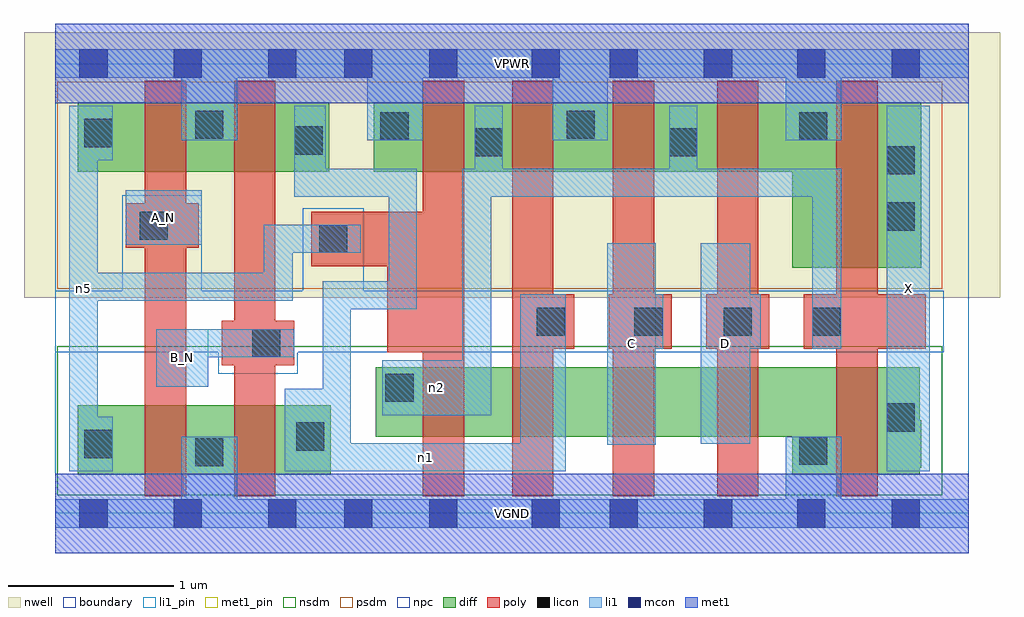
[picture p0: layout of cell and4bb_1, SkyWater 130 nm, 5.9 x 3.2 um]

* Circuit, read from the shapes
.subckt and4bb_1 A_N B_N C D VGND VPWR X n1 n2 n5
XM1 VGND A_N n5 VSUBS sky130_fd_pr__nfet_01v8 w=0.42 l=0.25
XM2 n1 B_N VGND VSUBS sky130_fd_pr__nfet_01v8 w=0.42 l=0.25
XM3 n3 n5 n2 VSUBS sky130_fd_pr__nfet_01v8 w=0.42 l=0.25
XM4 n4 n1 n3 VSUBS sky130_fd_pr__nfet_01v8 w=0.42 l=0.25
XM5 n6 C n4 VSUBS sky130_fd_pr__nfet_01v8 w=0.42 l=0.25
XM6 VGND D n6 VSUBS sky130_fd_pr__nfet_01v8 w=0.42 l=0.25
XM7 X n2 VGND VSUBS sky130_fd_pr__nfet_01v8 w=0.65 l=0.25
XM8 VPWR A_N n5 n7 sky130_fd_pr__pfet_01v8 w=0.42 l=0.25
XM9 n1 B_N VPWR n7 sky130_fd_pr__pfet_01v8 w=0.42 l=0.25
XM10 n2 n5 VPWR n7 sky130_fd_pr__pfet_01v8 w=0.42 l=0.25
XM11 VPWR n1 n2 n7 sky130_fd_pr__pfet_01v8 w=0.42 l=0.25
XM12 n2 C VPWR n7 sky130_fd_pr__pfet_01v8 w=0.42 l=0.25
XM13 VPWR D n2 n7 sky130_fd_pr__pfet_01v8 w=0.42 l=0.25
XM14 X n2 VPWR n7 sky130_fd_pr__pfet_01v8 w=1 l=0.25
.ends

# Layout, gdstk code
import gdstk
lib = gdstk.Library(unit=1e-6, precision=1e-09)
def R(c, l, rs):  # rectangles x0, y0, x1, y1
    for r in rs: c.add(gdstk.rectangle(r[:2], r[2:], *l))
def A(c, l, x, y, w, h, nx, ny, dx, dy):  # array of equal rectangles
    R(c, l, [(x+i*dx, y+j*dy, x+i*dx+w, y+j*dy+h) for i in range(nx) for j in range(ny)])
nwell = (64, 20)
diff = (65, 20)
poly = (66, 20)
licon = (66, 44)
li1_pin = (67, 16)
li1 = (67, 20)
mcon = (67, 44)
met1_pin = (68, 16)
met1 = (68, 20)
nsdm = (93, 44)
psdm = (94, 20)
npc = (95, 20)
boundary = (235, 4)

and4bb_1 = lib.new_cell('and4bb_1')
R(and4bb_1, nwell, [(-0.19,1.305,5.71,2.91), (0,1.305,5.52,2.91)])
R(and4bb_1, diff, [(0.135,0.235,1.665,0.655), (4.455,0.235,5.225,0.885), (4.455,0.275,5.235,0.565), (1.935,0.465,5.225,0.885), (4.455,1.485,5.235,2.485), (0.135,2.065,1.655,2.485), (1.925,2.065,5.235,2.485)])
R(and4bb_1, poly, [(0.54,0.105,0.79,2.615), (1.08,0.105,1.33,2.615), (2.22,0.105,2.47,2.615), (2.76,0.105,3.01,2.615), (3.37,0.105,3.62,2.615), (4,0.105,4.25,2.615), (4.72,0.105,4.97,2.615), (1.005,0.895,1.445,1.165), (2.005,0.975,2.47,1.825), (2.76,0.995,3.135,1.325), (3.345,0.995,3.725,1.325), (3.935,0.995,4.315,1.325), (4.525,0.995,5.26,1.325), (1.545,1.495,2.47,1.825), (0.425,1.605,0.865,1.875)])
R(and4bb_1, licon, [(0.845,0.285,1.015,0.455), (4.495,0.295,4.665,0.465), (0.175,0.335,0.345,0.505), (1.455,0.38,1.625,0.55), (5.025,0.495,5.195,0.665), (1.995,0.675,2.165,0.845), (1.19,0.945,1.36,1.115), (2.91,1.075,3.08,1.245), (3.5,1.075,3.67,1.245), (4.04,1.075,4.21,1.245), (4.575,1.075,4.745,1.245), (1.595,1.575,1.765,1.745), (0.51,1.655,0.68,1.825), (5.025,1.71,5.195,1.88), (5.025,2.05,5.195,2.22), (2.535,2.16,2.705,2.33), (3.71,2.16,3.88,2.33), (1.445,2.17,1.615,2.34), (0.175,2.215,0.345,2.385), (1.965,2.255,2.135,2.425), (4.495,2.255,4.665,2.425), (0.845,2.265,1.015,2.435), (3.09,2.265,3.26,2.435)])
R(and4bb_1, li1_pin, [(5.025,0.255,5.285,2.465), (3.335,0.415,3.63,1.635), (3.9,0.42,4.2,1.635), (0.61,0.765,0.925,1.115), (0.425,1.625,0.885,1.955)])
R(and4bb_1, li1, [(0,-0.085,5.52,0.085), (0.76,-0.085,1.1,0.465), (4.415,-0.085,4.75,0.465), (0.085,0.255,0.255,2.465), (0.085,0.255,0.345,0.585), (1.385,0.255,3.085,0.425), (1.385,0.255,1.785,0.755), (1.615,0.255,1.785,1.405), (2.81,0.255,3.085,1.325), (5.025,0.255,5.285,2.465), (3.335,0.415,3.63,1.635), (3.9,0.42,4.2,1.635), (1.975,0.595,2.635,0.925), (2.46,0.595,2.635,2.085), (0.61,0.765,0.925,1.115), (0.61,0.945,1.445,1.115), (3.335,0.995,3.675,1.325), (3.9,0.995,4.265,1.325), (4.575,0.995,4.75,2.085), (1.615,1.235,2.185,1.405), (2.015,1.235,2.185,2.085), (0.085,1.285,1.435,1.455), (1.26,1.285,1.435,1.745), (1.26,1.575,1.845,1.745), (0.425,1.625,0.885,1.955), (1.445,1.915,1.635,2.465), (1.445,1.915,2.185,2.085), (2.46,1.915,4.75,2.085), (2.535,1.915,2.705,2.465), (3.71,1.915,3.88,2.465), (0.085,2.135,0.345,2.465), (0.76,2.255,1.1,2.805), (1.885,2.255,2.22,2.805), (3.005,2.255,3.34,2.805), (4.415,2.255,4.75,2.805), (0,2.635,5.52,2.805)])
A(and4bb_1, mcon, 0.145, -0.085, 0.17, 0.17, 3, 2, 0.57, 2.72)
R(and4bb_1, mcon, [(1.745,-0.085,1.915,0.085), (2.26,-0.085,2.43,0.085), (2.88,-0.085,3.05,0.085), (3.35,-0.085,3.52,0.085), (3.92,-0.085,4.09,0.085), (4.485,-0.085,4.655,0.085), (5.055,-0.085,5.225,0.085), (1.745,2.635,1.915,2.805), (2.26,2.635,2.43,2.805), (2.88,2.635,3.05,2.805), (3.35,2.635,3.52,2.805), (3.92,2.635,4.09,2.805), (4.485,2.635,4.655,2.805), (5.055,2.635,5.225,2.805)])
R(and4bb_1, met1_pin, [(0,-0.24,5.52,0.24), (0,2.48,5.52,2.96)])
R(and4bb_1, met1, [(0,-0.24,5.52,0.24), (0,2.48,5.52,2.96)])
R(and4bb_1, nsdm, [(0.01,0.11,5.36,1.01)])
R(and4bb_1, psdm, [(0.01,1.36,5.36,2.61)])
R(and4bb_1, npc, [(0.985,0.845,1.465,1.345), (0,0.975,5.37,1.345), (0.405,0.975,0.885,1.925), (1.495,0.975,1.865,1.845)])
R(and4bb_1, boundary, [(0,0,5.52,2.72)])
and4bb_1.add(gdstk.Label('A_N', (0.655,1.79), layer=67, texttype=5))
and4bb_1.add(gdstk.Label('B_N', (0.767,0.94), layer=67, texttype=5))
and4bb_1.add(gdstk.Label('C', (3.482,1.025), layer=67, texttype=5))
and4bb_1.add(gdstk.Label('D', (4.05,1.027), layer=67, texttype=5))
and4bb_1.add(gdstk.Label('X', (5.155,1.36), layer=67, texttype=5))
and4bb_1.add(gdstk.Label('n5', (0.17,1.36), layer=67, texttype=5))
and4bb_1.add(gdstk.Label('n1', (2.235,0.34), layer=67, texttype=5))
and4bb_1.add(gdstk.Label('n2', (2.305,0.76), layer=67, texttype=5))
and4bb_1.add(gdstk.Label('VPWR', (2.76,2.72), layer=68, texttype=5))
and4bb_1.add(gdstk.Label('VGND', (2.76,0), layer=68, texttype=5))
and4bb_1.add(gdstk.Label('A_N', (0.655,1.79), layer=67, texttype=16))
and4bb_1.add(gdstk.Label('B_N', (0.767,0.94), layer=67, texttype=16))
and4bb_1.add(gdstk.Label('C', (3.482,1.025), layer=67, texttype=16))
and4bb_1.add(gdstk.Label('D', (4.05,1.027), layer=67, texttype=16))
and4bb_1.add(gdstk.Label('X', (5.155,1.36), layer=67, texttype=16))
and4bb_1.add(gdstk.Label('VPWR', (2.76,2.72), layer=68, texttype=16))
and4bb_1.add(gdstk.Label('VGND', (2.76,0), layer=68, texttype=16))

lib.write_gds('and4bb_1.gds')
